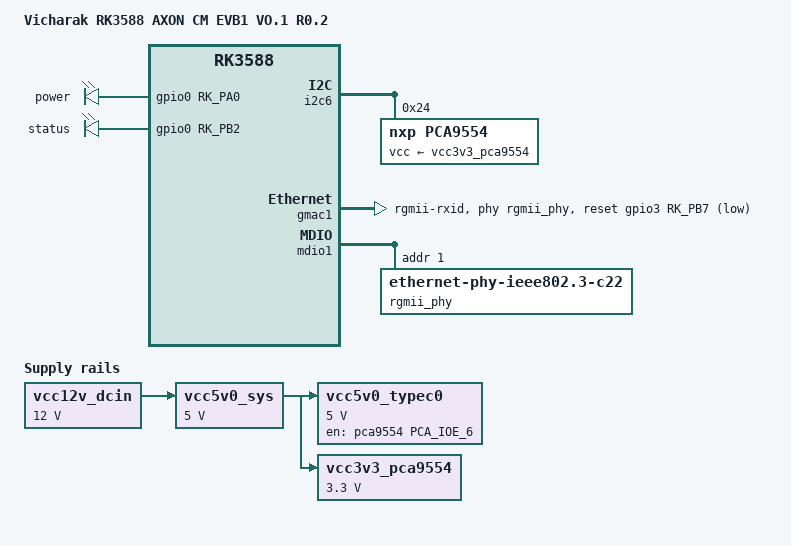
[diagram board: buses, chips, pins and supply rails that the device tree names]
// SPDX-License-Identifier: (GPL-2.0+ OR MIT)
/*
 * Copyright (c) 2023 Vicharak India
 *
 */

/dts-v1/;
#include "rk3588.dtsi"
#include "rk3588-axon-cm-u-boot.dtsi"
#include <dt-bindings/input/input.h>

/ {
	model = "Vicharak RK3588 AXON CM EVB1 VO.1 R0.2";
	compatible = "vicharak,rk3588-axon-cm-evb1", "rockchip,rk3588";

	// Regulators: {{{
	vcc12v_dcin: vcc12v-dcin {
		u-boot,dm-pre-reloc;
		compatible = "regulator-fixed";
		regulator-name = "vcc12v_dcin";
		regulator-always-on;
		regulator-boot-on;
		regulator-min-microvolt = <12000000>;
		regulator-max-microvolt = <12000000>;
	};

	vcc5v0_sys: vcc5v0-sys {
		u-boot,dm-pre-reloc;
		compatible = "regulator-fixed";
		regulator-name = "vcc5v0_sys";
		regulator-always-on;
		regulator-boot-on;
		regulator-min-microvolt = <5000000>;
		regulator-max-microvolt = <5000000>;
		vin-supply = <&vcc12v_dcin>;
	};

	vcc5v0_typec0: vcc5v0-typec0-regulator {
		u-boot,dm-pre-reloc;
		compatible = "regulator-fixed";
		regulator-name = "vcc5v0_typec0";
		regulator-min-microvolt = <5000000>;
		regulator-max-microvolt = <5000000>;
		enable-active-high;
		gpio = <&pca9554 PCA_IOE_6 GPIO_ACTIVE_HIGH>;
		vin-supply = <&vcc5v0_sys>;
	};

	vcc3v3_pca9554: vcc3v3-pca9554 {
		u-boot,dm-pre-reloc;
		compatible = "regulator-fixed";
		regulator-name = "vcc3v3_pca9554";
		regulator-min-microvolt = <3300000>;
		regulator-max-microvolt = <3300000>;
		regulator-boot-on;
		regulator-always-on;
		enable-active-high;
		vin-supply = <&vcc5v0_sys>;
	};
	// End of Regulators }}}

	// Leds: {{{
	gpio_leds: gpio-leds {
		u-boot,dm-pre-reloc;
		compatible = "gpio-leds";
		status = "okay";
		pinctrl-names = "default";
		pinctrl-0 = <&power_led_gpio &status_led_gpio>;

		power_led: power-led {
			u-boot,dm-pre-reloc;
			label = "power";
			gpios = <&gpio0 RK_PA0 GPIO_ACTIVE_HIGH>;
			default-state = "on";
			retain-state-suspend;
			linux,default-trigger = "default-on";
		};

		status_led: status-led {
			u-boot,dm-pre-reloc;
			label = "status";
			gpios = <&gpio0 RK_PB2 GPIO_ACTIVE_HIGH>;
			default-state = "on";
			retain-state-suspend;
			linux,default-trigger = "heartbeat";
		};
	};
	// End of Leds }}}
};

// I2C6: {{{
&i2c6 {
	u-boot,dm-pre-reloc;
	status = "okay";

	// PCA9554 GPIO Expander
	pca9554: gpio@24 {
		u-boot,dm-pre-reloc;
		compatible = "nxp,pca9554";
		reg = <0x24>;
		vcc-supply = <&vcc3v3_pca9554>;
		gpio-controller;
		#gpio-cells = <2>;
		gpio-group-num = <300>;
		status = "okay";
	};
};
// End of I2C6 }}}

// ethernet@fe1c0000 : GMAC1 {{{
&gmac1 {
       clock_in_out = "output";
       phy-handle = <&rgmii_phy>;
       phy-mode = "rgmii-rxid";
       // phy-supply = <&vcc_3v3_s3>;
       pinctrl-0 = <&gmac1_rgmii_bus
                               &gmac1_rgmii_clk
                               &gmac1_rx_bus2
                               &gmac1_tx_bus2
                               &gmac1_miim>;
       pinctrl-names = "default";
       snps,reset-active-low;
       snps,reset-delays-us = <0 20000 100000>;
       snps,reset-gpio = <&gpio3 RK_PB7 GPIO_ACTIVE_LOW>;
       rx_delay = <0x00>;
       tx_delay = <0x43>;
       status = "okay";
};
// End of ethernet@fe1c0000 : GMAC1 }}}

&mdio1 {
       rgmii_phy: phy@1 {
               compatible = "ethernet-phy-ieee802.3-c22";
               reg = <0x1>;
       };
};

// Pinctrl: {{{
&pinctrl {
	// Leds: {{{
	leds {
		power_led_gpio: power-led-gpio {
			rockchip,pins =
				<0 RK_PA0 RK_FUNC_GPIO &pcfg_pull_none>;
		};

		status_led_gpio: status-led-gpio {
			rockchip,pins =
				<0 RK_PB2 RK_FUNC_GPIO &pcfg_pull_none>;
		};
	};
	// End of Leds }}}
};
// End of Pinctrl }}}
